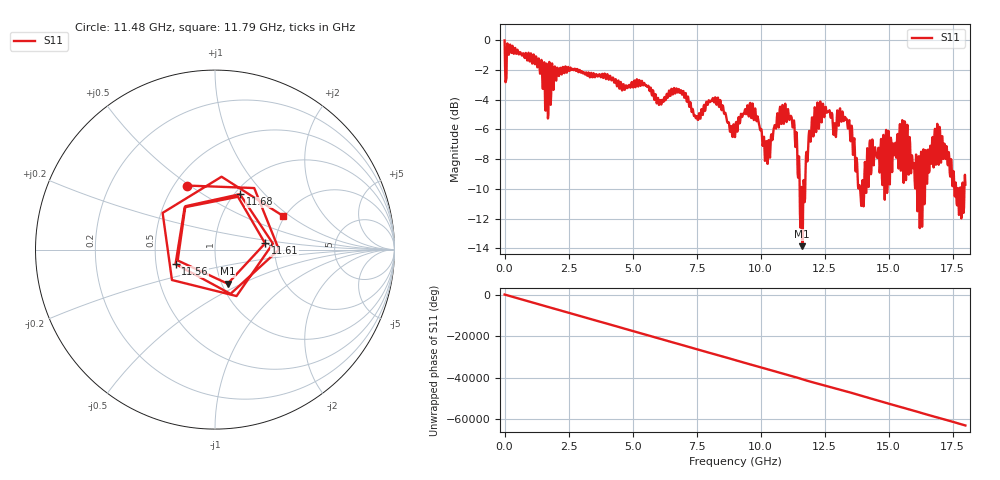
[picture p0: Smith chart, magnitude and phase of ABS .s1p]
!Keysight Technologies N9917A: A.12.46
!Date: Friday, 22 December 2023 20:32:25
!TimeZone: (UTC-03:00) Buenos Aires!Model: N9917A
!Serial: MY56072049
!GPS Latitude:
!GPS Longitude:
!GPS TimeStamp: 0001-01-01 00:00:00Z
!GPS Seconds Since Last Read: 0
!CHECKSUM:1073216493
!Correction: S11(Rdy)
!S1P File: Measurement: S11:
# Hz S RI R 50
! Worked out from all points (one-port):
!   1001 points, 30 kHz to 18 GHz, reference 50 ohm
!   lowest |S11| = -13.9 dB at 11.63 GHz (marker M1), VSWR 1.51, Z = 53.3 - j21.1 ohm
!   |S11| at or under -10 dB: 11.59 GHz to 11.67 GHz (79.53 MHz wide, 0.684 % of centre); 13.89 GHz to 13.96 GHz (77.31 MHz wide, 0.555 % of centre); 17.63942 GHz to 17.70898 GHz (69.56 MHz wide, 0.394 % of centre) (the widest 3 of 17)
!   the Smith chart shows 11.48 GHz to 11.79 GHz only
!   S11 on the Smith chart (normalised r, x): 11.48 GHz: 0.58, +0.49; 11.56 GHz: 0.63, -0.11; 11.61 GHz: 1.77, +0.13; 11.68 GHz: 1.06, +0.74; 11.79 GHz: 1.94, +0.89
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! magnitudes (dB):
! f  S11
! 30 kHz  0.0
! 1.188 GHz  -1.6
! 1.638 GHz  -1.6
! 2.25 GHz  -2.1
! 4.5 GHz  -3.3
! 6.75 GHz  -3.5
! 8.262 GHz  -4.2
! 9 GHz  -6.5
! 9.63 GHz  -5.2
! 10.26 GHz  -8.3
! 10.8 GHz  -5.6
! 11.25 GHz  -5.9
! 11.48 GHz  -8.2
! 11.56 GHz  -12.6
! 11.61 GHz  -11.0
! 11.63 GHz  -13.9
! 11.68 GHz  -9.4
! 11.79 GHz  -7.5
! 11.95 GHz  -6.8
! 12.28 GHz  -6.0
! 13.5 GHz  -6.5
! 13.95 GHz  -10.7
! 14.44 GHz  -7.8
! 15.75 GHz  -6.6
! 16.31 GHz  -12.5
! 16.99 GHz  -5.8
! 17.77 GHz  -11.7
! 18 GHz  -9.7
